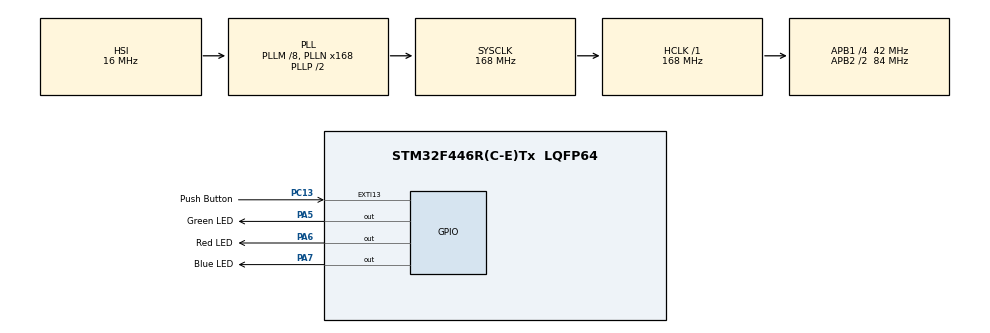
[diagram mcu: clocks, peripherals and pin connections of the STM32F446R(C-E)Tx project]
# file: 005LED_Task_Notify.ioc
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Mcu.Family=STM32F4
Mcu.Name=STM32F446R(C-E)Tx
Mcu.Package=LQFP64
NVIC.PriorityGroup=NVIC_PRIORITYGROUP_4
NVIC.TIM6_DAC_IRQn=true\:0\:0\:false\:false\:true\:false\:true\:true
NVIC.TimeBase=TIM6_DAC_IRQn
NVIC.TimeBaseIP=TIM6
PA13.GPIO_Label=TMS
PA13.Signal=SYS_JTMS-SWDIO
PA14.GPIO_Label=TCK
PA14.Signal=SYS_JTCK-SWCLK
PA2.GPIO_Label=USART_TX
PA2.Signal=USART2_TX
PA3.GPIO_Label=USART_RX
PA3.Signal=USART2_RX
PA5.GPIO_Label=Green LED
PA5.Signal=GPIO_Output
PA6.GPIO_Label=Red LED
PA6.Signal=GPIO_Output
PA7.GPIO_Label=Blue LED
PA7.Signal=GPIO_Output
PB3.GPIO_Label=SWO
PB3.Signal=SYS_JTDO-SWO
PC13.GPIO_Label=Push Button
PC13.GPIO_ModeDefaultEXTI=GPIO_MODE_IT_FALLING
PC13.Signal=GPXTI13
PC14-OSC32_IN.Signal=RCC_OSC32_IN
PC15-OSC32_OUT.Signal=RCC_OSC32_OUT
PH0-OSC_IN.Signal=RCC_OSC_IN
PH1-OSC_OUT.Signal=RCC_OSC_OUT
ProjectManager.HeapSize=0x200
ProjectManager.StackSize=0x400
ProjectManager.TargetToolchain=STM32CubeIDE
RCC.AHBFreq_Value=168000000
RCC.APB1CLKDivider=RCC_HCLK_DIV4
RCC.APB1Freq_Value=42000000
RCC.APB1TimFreq_Value=84000000
RCC.APB2CLKDivider=RCC_HCLK_DIV2
RCC.APB2Freq_Value=84000000
RCC.APB2TimFreq_Value=168000000
RCC.CortexFreq_Value=168000000
RCC.FLatency-AdvancedSettings=FLASH_LATENCY_5
RCC.HCLKFreq_Value=168000000
RCC.HSE_VALUE=8000000
RCC.HSI_VALUE=16000000
RCC.LSE_VALUE=32768
RCC.PLLM=8
RCC.PLLN=168
RCC.SYSCLKFreq_VALUE=168000000
RCC.SYSCLKSource=RCC_SYSCLKSOURCE_PLLCLK
RCC.USBFreq_Value=168000000
RCC.VCOOutputFreq_Value=336000000
VP_SYS_VS_tim6.Mode=TIM6
board=NUCLEO-F446RE

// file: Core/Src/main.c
/* USER CODE BEGIN Header */
/**
  ******************************************************************************
  * @file           : main.c
  * @brief          : Main program body
  ******************************************************************************
  * @attention
  *
  * Copyright (c) 2022 STMicroelectronics.
  * All rights reserved.
  *
  * This software is licensed under terms that can be found in the LICENSE file
  * in the root directory of this software component.
  * If no LICENSE file comes with this software, it is provided AS-IS.
  *
  ******************************************************************************
  */
/* USER CODE END Header */
#include "main.h"

/* USER CODE BEGIN Includes */
#include "stdio.h"
#include "FreeRTOS.h"
#include "task.h"
/* USER CODE END Includes */

/* USER CODE BEGIN PV */
#define DWT_CTRL 				(*(volatile uint32_t*)0xE0001000)

TaskHandle_t task1_handle;
TaskHandle_t task2_handle;
TaskHandle_t task3_handle;
TaskHandle_t button_handle;

TaskHandle_t volatile next_task_handle = NULL;

/* USER CODE END PV */

void SystemClock_Config(void);
static void MX_GPIO_Init(void);
/* USER CODE BEGIN PFP */
extern  void SEGGER_UART_init(uint32_t);
/* USER CODE END PFP */

/* USER CODE BEGIN 0 */
static void led_green_handler(void* param);
static void led_red_handler(void* param);
static void led_blue_handler(void* param);
static void button_task_handler(void* param);
/* USER CODE END 0 */

int main(void)
{

  /* MCU Configuration--------------------------------------------------------*/

  /* Reset of all peripherals, Initializes the Flash interface and the Systick. */
  HAL_Init();

  /* Configure the system clock */
  SystemClock_Config();

  /* Initialize all configured peripherals */
  MX_GPIO_Init();
  /* USER CODE BEGIN 2 */
  BaseType_t status;

  // Enable the CYCCNT counter
  DWT_CTRL |= (1 << 0);

  SEGGER_UART_init(500000);
  SEGGER_SYSVIEW_Conf();

  status = xTaskCreate(button_task_handler,"Button_task",200,NULL,4,&button_handle);
  configASSERT(status == pdPASS);

  status = xTaskCreate(led_green_handler,"LED_green_task",200,NULL,3,&task1_handle);
  configASSERT(status == pdPASS);

  status = xTaskCreate(led_red_handler,"LED_red_task",200,NULL,2,&task2_handle);
  configASSERT(status == pdPASS);

  status = xTaskCreate(led_blue_handler,"LED_blue_task",200,NULL,1,&task3_handle);
  configASSERT(status == pdPASS);

  next_task_handle = task1_handle;

  // Start the real time scheduler
    vTaskStartScheduler();

  /* USER CODE END 2 */

  /* Infinite loop */
  while (1)
  {

  }
}

void SystemClock_Config(void)
{
  RCC_OscInitTypeDef RCC_OscInitStruct = {0};
  RCC_ClkInitTypeDef RCC_ClkInitStruct = {0};

  /** Configure the main internal regulator output voltage
  */
  __HAL_RCC_PWR_CLK_ENABLE();
  __HAL_PWR_VOLTAGESCALING_CONFIG(PWR_REGULATOR_VOLTAGE_SCALE1);

  /** Initializes the RCC Oscillators according to the specified parameters
  * in the RCC_OscInitTypeDef structure.
  */
  RCC_OscInitStruct.OscillatorType = RCC_OSCILLATORTYPE_HSI;
  RCC_OscInitStruct.HSIState = RCC_HSI_ON;
  RCC_OscInitStruct.HSICalibrationValue = RCC_HSICALIBRATION_DEFAULT;
  RCC_OscInitStruct.PLL.PLLState = RCC_PLL_ON;
  RCC_OscInitStruct.PLL.PLLSource = RCC_PLLSOURCE_HSI;
  RCC_OscInitStruct.PLL.PLLM = 8;
  RCC_OscInitStruct.PLL.PLLN = 168;
  RCC_OscInitStruct.PLL.PLLP = RCC_PLLP_DIV2;
  RCC_OscInitStruct.PLL.PLLQ = 2;
  RCC_OscInitStruct.PLL.PLLR = 2;
  if (HAL_RCC_OscConfig(&RCC_OscInitStruct) != HAL_OK)
  {
    Error_Handler();
  }

  /** Initializes the CPU, AHB and APB buses clocks
  */
  RCC_ClkInitStruct.ClockType = RCC_CLOCKTYPE_HCLK|RCC_CLOCKTYPE_SYSCLK
                              |RCC_CLOCKTYPE_PCLK1|RCC_CLOCKTYPE_PCLK2;
  RCC_ClkInitStruct.SYSCLKSource = RCC_SYSCLKSOURCE_PLLCLK;
  RCC_ClkInitStruct.AHBCLKDivider = RCC_SYSCLK_DIV1;
  RCC_ClkInitStruct.APB1CLKDivider = RCC_HCLK_DIV4;
  RCC_ClkInitStruct.APB2CLKDivider = RCC_HCLK_DIV2;

  if (HAL_RCC_ClockConfig(&RCC_ClkInitStruct, FLASH_LATENCY_5) != HAL_OK)
  {
    Error_Handler();
  }
}

static void MX_GPIO_Init(void)
{
  GPIO_InitTypeDef GPIO_InitStruct = {0};

  /* GPIO Ports Clock Enable */
  __HAL_RCC_GPIOC_CLK_ENABLE();
  __HAL_RCC_GPIOH_CLK_ENABLE();
  __HAL_RCC_GPIOA_CLK_ENABLE();
  __HAL_RCC_GPIOB_CLK_ENABLE();

  /*Configure GPIO pin Output Level */
  HAL_GPIO_WritePin(GPIOA, Green_LED_Pin|Red_LED_Pin|Blue_LED_Pin, GPIO_PIN_RESET);

  /*Configure GPIO pin : Push_Button_Pin */
  GPIO_InitStruct.Pin = Push_Button_Pin;
  GPIO_InitStruct.Mode = GPIO_MODE_IT_FALLING;
  GPIO_InitStruct.Pull = GPIO_NOPULL;
  HAL_GPIO_Init(Push_Button_GPIO_Port, &GPIO_InitStruct);

  /*Configure GPIO pins : USART_TX_Pin USART_RX_Pin */
  GPIO_InitStruct.Pin = USART_TX_Pin|USART_RX_Pin;
  GPIO_InitStruct.Mode = GPIO_MODE_AF_PP;
  GPIO_InitStruct.Pull = GPIO_NOPULL;
  GPIO_InitStruct.Speed = GPIO_SPEED_FREQ_VERY_HIGH;
  GPIO_InitStruct.Alternate = GPIO_AF7_USART2;
  HAL_GPIO_Init(GPIOA, &GPIO_InitStruct);

  /*Configure GPIO pins : Green_LED_Pin Red_LED_Pin Blue_LED_Pin */
  GPIO_InitStruct.Pin = Green_LED_Pin|Red_LED_Pin|Blue_LED_Pin;
  GPIO_InitStruct.Mode = GPIO_MODE_OUTPUT_PP;
  GPIO_InitStruct.Pull = GPIO_NOPULL;
  GPIO_InitStruct.Speed = GPIO_SPEED_FREQ_LOW;
  HAL_GPIO_Init(GPIOA, &GPIO_InitStruct);

}

static void button_task_handler(void* param){
	uint8_t btn_read;
	uint8_t prv_read;
	while(1) {
		btn_read = HAL_GPIO_ReadPin(Push_Button_GPIO_Port, Push_Button_Pin);
		if (!btn_read && prv_read) {
				xTaskNotify(next_task_handle,0,eNoAction);
		}
		prv_read = btn_read;
		vTaskDelay(pdMS_TO_TICKS(10));
	}
}

/* USER CODE BEGIN 4 */
static void led_green_handler(void* param){
	BaseType_t status;
	while(1) {
		SEGGER_SYSVIEW_PrintfTarget("Toggling green LED");
		HAL_GPIO_TogglePin(GPIOA,Green_LED_Pin);

		// Wait for the next cycle.
		status = xTaskNotifyWait(0,0,0,pdMS_TO_TICKS(1000));

		if ( status == pdPASS) {
			vTaskSuspendAll();
			next_task_handle = task2_handle;
			xTaskResumeAll();
			HAL_GPIO_WritePin(GPIOA, Green_LED_Pin,GPIO_PIN_SET );
			SEGGER_SYSVIEW_PrintfTarget("Deleting green LED task");
			vTaskDelete(NULL);
		}

	}

}
static void led_red_handler(void* param){
	BaseType_t status;
	while(1) {
		SEGGER_SYSVIEW_PrintfTarget("Toggling red LED");
		HAL_GPIO_TogglePin(GPIOA,Red_LED_Pin);

		// Wait for the next cycle.
		status = xTaskNotifyWait(0,0,0,pdMS_TO_TICKS(800));

		if ( status == pdPASS) {
			vTaskSuspendAll();
			next_task_handle = task3_handle;
			xTaskResumeAll();
			HAL_GPIO_WritePin(GPIOA, Red_LED_Pin,GPIO_PIN_SET );
			SEGGER_SYSVIEW_PrintfTarget("Deleting red LED task");
			vTaskDelete(NULL);
		}
	}
}
static void led_blue_handler(void* param){
	BaseType_t status;
	while(1) {
		SEGGER_SYSVIEW_PrintfTarget("Toggling blue LED");
		HAL_GPIO_TogglePin(GPIOA,Blue_LED_Pin);

		// Wait for the next cycle.
		status = xTaskNotifyWait(0,0,0,pdMS_TO_TICKS(400));

		if ( status == pdPASS) {
			HAL_GPIO_WritePin(GPIOA, Blue_LED_Pin,GPIO_PIN_SET );
			SEGGER_SYSVIEW_PrintfTarget("Deleting button task");
			vTaskDelete(button_handle);
			SEGGER_SYSVIEW_PrintfTarget("Deleting blue LED task");
			vTaskDelete(NULL);
		}
	}
}

/* USER CODE END 4 */

void HAL_TIM_PeriodElapsedCallback(TIM_HandleTypeDef *htim)
{
  if (htim->Instance == TIM6) {
    HAL_IncTick();
  }
}

void Error_Handler(void)
{
  __disable_irq();
  while (1)
  {
  }
}
